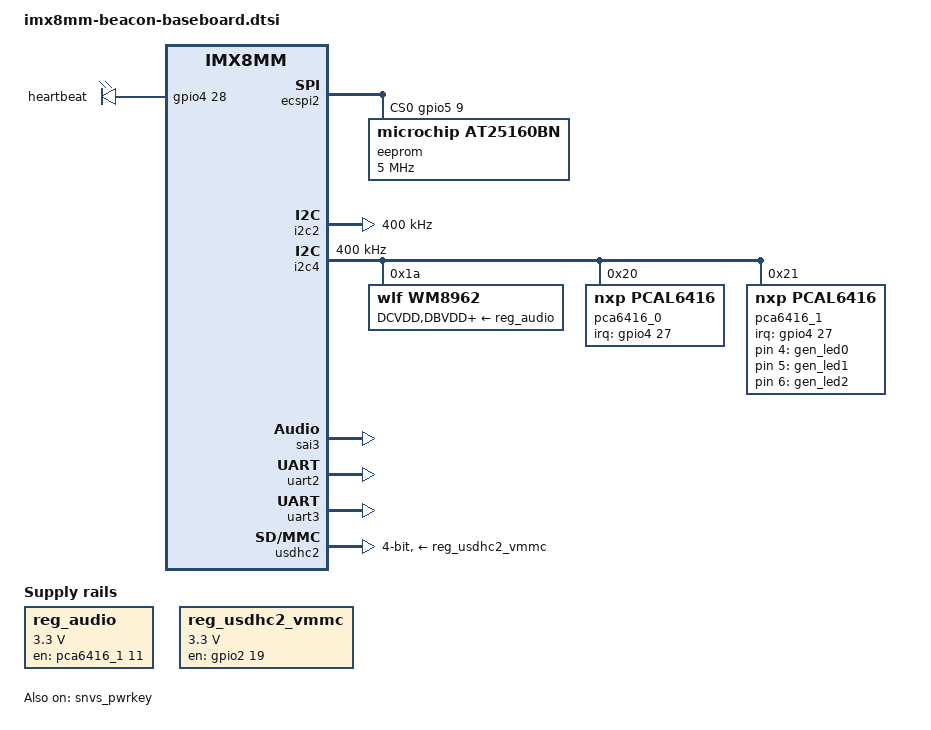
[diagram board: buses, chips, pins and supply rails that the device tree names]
// SPDX-License-Identifier: (GPL-2.0 OR MIT)
/*
 * Copyright 2020 Compass Electronics Group, LLC
 */

/ {
	leds {
		compatible = "gpio-leds";

		led0 {
			label = "gen_led0";
			gpios = <&pca6416_1 4 GPIO_ACTIVE_HIGH>;
			default-state = "none";
		};

		led1 {
			label = "gen_led1";
			gpios = <&pca6416_1 5 GPIO_ACTIVE_HIGH>;
			default-state = "none";
		};

		led2 {
			label = "gen_led2";
			gpios = <&pca6416_1 6 GPIO_ACTIVE_HIGH>;
			default-state = "none";
		};

		led3 {
			pinctrl-names = "default";
			pinctrl-0 = <&pinctrl_led3>;
			label = "heartbeat";
			gpios = <&gpio4 28 GPIO_ACTIVE_HIGH>;
			linux,default-trigger = "heartbeat";
		};
	};

	reg_audio: regulator-audio {
		compatible = "regulator-fixed";
		regulator-name = "3v3_aud";
		regulator-min-microvolt = <3300000>;
		regulator-max-microvolt = <3300000>;
		gpio = <&pca6416_1 11 GPIO_ACTIVE_HIGH>;
		enable-active-high;
	};

	reg_usdhc2_vmmc: regulator-usdhc2 {
		compatible = "regulator-fixed";
		regulator-name = "VSD_3V3";
		regulator-min-microvolt = <3300000>;
		regulator-max-microvolt = <3300000>;
		gpio = <&gpio2 19 GPIO_ACTIVE_HIGH>;
		enable-active-high;
	};

	sound {
		compatible = "fsl,imx-audio-wm8962";
		model = "wm8962-audio";
		audio-cpu = <&sai3>;
		audio-codec = <&wm8962>;
		audio-routing =
			"Headphone Jack", "HPOUTL",
			"Headphone Jack", "HPOUTR",
			"Ext Spk", "SPKOUTL",
			"Ext Spk", "SPKOUTR",
			"AMIC", "MICBIAS",
			"IN3R", "AMIC";
	};
};

&ecspi2 {
	pinctrl-names = "default";
	pinctrl-0 = <&pinctrl_espi2>;
	cs-gpios = <&gpio5 9 0>;
	status = "okay";

	eeprom@0 {
		compatible = "microchip,at25160bn", "atmel,at25";
		reg = <0>;
		spi-max-frequency = <5000000>;
		spi-cpha;
		spi-cpol;
		pagesize = <32>;
		size = <2048>;
		address-width = <16>;
	};
};

&i2c2 {
	clock-frequency = <400000>;
	pinctrl-names = "default";
	pinctrl-0 = <&pinctrl_i2c2>;
	status = "okay";
};

&i2c4 {
	clock-frequency = <400000>;
	pinctrl-names = "default";
	pinctrl-0 = <&pinctrl_i2c4>;
	status = "okay";

	wm8962: audio-codec@1a {
		compatible = "wlf,wm8962";
		reg = <0x1a>;
		clocks = <&clk IMX8MM_CLK_SAI3_ROOT>;
		clock-names = "xclk";
		DCVDD-supply = <&reg_audio>;
		DBVDD-supply = <&reg_audio>;
		AVDD-supply = <&reg_audio>;
		CPVDD-supply = <&reg_audio>;
		MICVDD-supply = <&reg_audio>;
		PLLVDD-supply = <&reg_audio>;
		SPKVDD1-supply = <&reg_audio>;
		SPKVDD2-supply = <&reg_audio>;
		gpio-cfg = <
			0x0000 /* 0:Default */
			0x0000 /* 1:Default */
			0x0000 /* 2:FN_DMICCLK */
			0x0000 /* 3:Default */
			0x0000 /* 4:FN_DMICCDAT */
			0x0000 /* 5:Default */
		>;
	};

	pca6416_0: gpio@20 {
		compatible = "nxp,pcal6416";
		reg = <0x20>;
		pinctrl-names = "default";
		pinctrl-0 = <&pinctrl_pcal6414>;
		gpio-controller;
		#gpio-cells = <2>;
		interrupt-parent = <&gpio4>;
		interrupts = <27 IRQ_TYPE_LEVEL_LOW>;
	};

	pca6416_1: gpio@21 {
		compatible = "nxp,pcal6416";
		reg = <0x21>;
		gpio-controller;
		#gpio-cells = <2>;
		interrupt-parent = <&gpio4>;
		interrupts = <27 IRQ_TYPE_LEVEL_LOW>;
	};
};

&sai3 {
	pinctrl-names = "default";
	pinctrl-0 = <&pinctrl_sai3>;
	assigned-clocks = <&clk IMX8MM_CLK_SAI3>;
	assigned-clock-parents = <&clk IMX8MM_AUDIO_PLL1_OUT>;
	assigned-clock-rates = <24576000>;
	fsl,sai-mclk-direction-output;
	status = "okay";
};

&snvs_pwrkey {
	status = "okay";
};

&uart2 { /* console */
	pinctrl-names = "default";
	pinctrl-0 = <&pinctrl_uart2>;
	status = "okay";
};

&uart3 {
	pinctrl-names = "default";
	pinctrl-0 = <&pinctrl_uart3>;
	assigned-clocks = <&clk IMX8MM_CLK_UART3>;
	assigned-clock-parents = <&clk IMX8MM_SYS_PLL1_80M>;
	status = "okay";
};

&usdhc2 {
	pinctrl-names = "default", "state_100mhz", "state_200mhz";
	pinctrl-0 = <&pinctrl_usdhc2>, <&pinctrl_usdhc2_gpio>;
	pinctrl-1 = <&pinctrl_usdhc2_100mhz>;
	pinctrl-2 = <&pinctrl_usdhc2_200mhz>;
	bus-width = <4>;
	vmmc-supply = <&reg_usdhc2_vmmc>;
	status = "okay";
};

&iomuxc {
	pinctrl_espi2: espi2grp {
		fsl,pins = <
			MX8MM_IOMUXC_ECSPI2_SCLK_ECSPI2_SCLK		0x82
			MX8MM_IOMUXC_ECSPI2_MOSI_ECSPI2_MOSI		0x82
			MX8MM_IOMUXC_ECSPI2_MISO_ECSPI2_MISO		0x82
			MX8MM_IOMUXC_ECSPI1_SS0_GPIO5_IO9		0x41
		>;
	};

	pinctrl_i2c2: i2c2grp {
		fsl,pins = <
			MX8MM_IOMUXC_I2C2_SCL_I2C2_SCL		0x400001c3
			MX8MM_IOMUXC_I2C2_SDA_I2C2_SDA		0x400001c3
		>;
	};

	pinctrl_i2c4: i2c4grp {
		fsl,pins = <
			MX8MM_IOMUXC_I2C4_SCL_I2C4_SCL		0x400001c3
			MX8MM_IOMUXC_I2C4_SDA_I2C4_SDA		0x400001c3
		>;
	};

	pinctrl_led3: led3grp {
		fsl,pins = <
			MX8MM_IOMUXC_SAI3_RXFS_GPIO4_IO28	0x41
		>;
	};

	pinctrl_pcal6414: pcal6414-gpio {
		fsl,pins = <
			MX8MM_IOMUXC_SAI2_MCLK_GPIO4_IO27		0x19
		>;
	};

	pinctrl_sai3: sai3grp {
		fsl,pins = <
			MX8MM_IOMUXC_SAI3_TXFS_SAI3_TX_SYNC     0xd6
			MX8MM_IOMUXC_SAI3_TXC_SAI3_TX_BCLK      0xd6
			MX8MM_IOMUXC_SAI3_MCLK_SAI3_MCLK        0xd6
			MX8MM_IOMUXC_SAI3_TXD_SAI3_TX_DATA0     0xd6
			MX8MM_IOMUXC_SAI3_RXD_SAI3_RX_DATA0	0xd6
		>;
	};

	pinctrl_uart2: uart2grp {
		fsl,pins = <
			MX8MM_IOMUXC_UART2_RXD_UART2_DCE_RX	0x140
			MX8MM_IOMUXC_UART2_TXD_UART2_DCE_TX	0x140
		>;
	};

	pinctrl_uart3: uart3grp {
		fsl,pins = <
			MX8MM_IOMUXC_ECSPI1_SCLK_UART3_DCE_RX	0x40
			MX8MM_IOMUXC_ECSPI1_MOSI_UART3_DCE_TX	0x40
		>;
	};

	pinctrl_usdhc2_gpio: usdhc2grpgpio {
		fsl,pins = <
			MX8MM_IOMUXC_SD2_CD_B_USDHC2_CD_B	0x41
			MX8MM_IOMUXC_SD2_RESET_B_GPIO2_IO19	0x41
		>;
	};

	pinctrl_usdhc2: usdhc2grp {
		fsl,pins = <
			MX8MM_IOMUXC_SD2_CLK_USDHC2_CLK	0x190
			MX8MM_IOMUXC_SD2_CMD_USDHC2_CMD	0x1d0
			MX8MM_IOMUXC_SD2_DATA0_USDHC2_DATA0	0x1d0
			MX8MM_IOMUXC_SD2_DATA1_USDHC2_DATA1	0x1d0
			MX8MM_IOMUXC_SD2_DATA2_USDHC2_DATA2	0x1d0
			MX8MM_IOMUXC_SD2_DATA3_USDHC2_DATA3	0x1d0
			MX8MM_IOMUXC_GPIO1_IO04_USDHC2_VSELECT	0x1d0
		>;
	};

	pinctrl_usdhc2_100mhz: usdhc2grp100mhz {
		fsl,pins = <
			MX8MM_IOMUXC_SD2_CLK_USDHC2_CLK	0x194
			MX8MM_IOMUXC_SD2_CMD_USDHC2_CMD	0x1d4
			MX8MM_IOMUXC_SD2_DATA0_USDHC2_DATA0	0x1d4
			MX8MM_IOMUXC_SD2_DATA1_USDHC2_DATA1	0x1d4
			MX8MM_IOMUXC_SD2_DATA2_USDHC2_DATA2	0x1d4
			MX8MM_IOMUXC_SD2_DATA3_USDHC2_DATA3	0x1d4
			MX8MM_IOMUXC_GPIO1_IO04_USDHC2_VSELECT	0x1d0
		>;
	};

	pinctrl_usdhc2_200mhz: usdhc2grp200mhz {
		fsl,pins = <
			MX8MM_IOMUXC_SD2_CLK_USDHC2_CLK	0x196
			MX8MM_IOMUXC_SD2_CMD_USDHC2_CMD	0x1d6
			MX8MM_IOMUXC_SD2_DATA0_USDHC2_DATA0	0x1d6
			MX8MM_IOMUXC_SD2_DATA1_USDHC2_DATA1	0x1d6
			MX8MM_IOMUXC_SD2_DATA2_USDHC2_DATA2	0x1d6
			MX8MM_IOMUXC_SD2_DATA3_USDHC2_DATA3	0x1d6
			MX8MM_IOMUXC_GPIO1_IO04_USDHC2_VSELECT	0x1d0
		>;
	};
};
